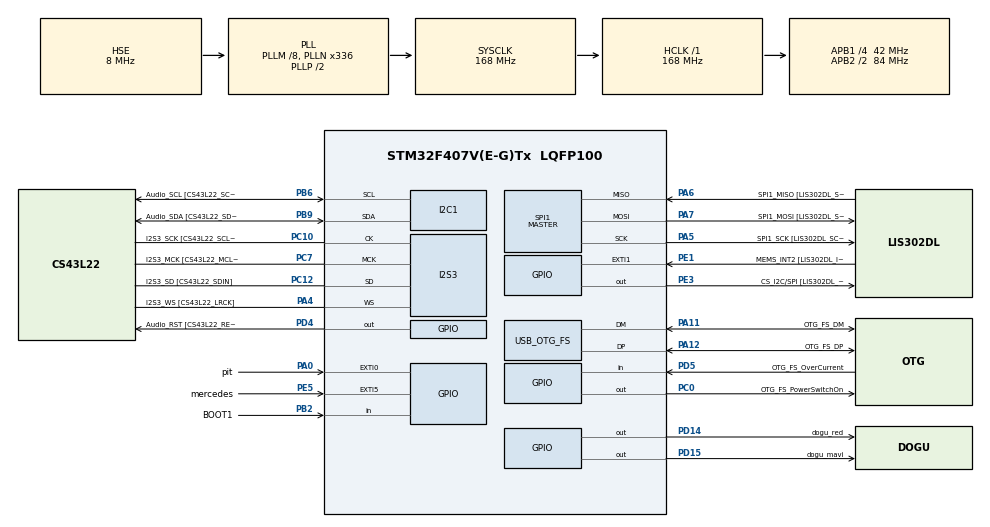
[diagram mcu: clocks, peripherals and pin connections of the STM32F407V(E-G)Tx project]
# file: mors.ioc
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I2S3.AudioFreq-Half_Duplex_Master=I2S_AUDIOFREQ_96K
I2S3.ErrorAudioFreq=-2.34 %
I2S3.ErrorAudioFreq-Half_Duplex_Master=0.8 %
I2S3.FullDuplexMode=I2S_FULLDUPLEXMODE_DISABLE
I2S3.Instance=SPI$Index
I2S3.RealAudioFreq=93.75 KHz
I2S3.RealAudioFreq-Half_Duplex_Master=96.774 KHz
I2S3.VirtualMode=I2S_MODE_MASTER
Mcu.Family=STM32F4
Mcu.Name=STM32F407V(E-G)Tx
Mcu.Package=LQFP100
NVIC.EXTI0_IRQn=true\:0\:0\:false\:false\:true\:true\:true\:true
NVIC.EXTI9_5_IRQn=true\:0\:0\:true\:false\:true\:true\:true\:true
NVIC.OTG_FS_IRQn=true\:0\:0\:false\:false\:true\:true\:true\:true
NVIC.PriorityGroup=NVIC_PRIORITYGROUP_0
PA0-WKUP.GPIO_Label=pit
PA0-WKUP.GPIO_ModeDefaultEXTI=GPIO_MODE_IT_RISING_FALLING
PA0-WKUP.Signal=GPXTI0
PA10.GPIO_Label=OTG_FS_ID
PA10.GPIO_Mode=GPIO_MODE_AF_PP
PA10.GPIO_PuPd=GPIO_NOPULL
PA10.GPIO_Speed=GPIO_SPEED_FREQ_LOW
PA10.Signal=USB_OTG_FS_ID
PA11.GPIO_Label=OTG_FS_DM
PA11.GPIO_Mode=GPIO_MODE_AF_PP
PA11.GPIO_PuPd=GPIO_NOPULL
PA11.GPIO_Speed=GPIO_SPEED_FREQ_LOW
PA11.Mode=Device_Only
PA11.Signal=USB_OTG_FS_DM
PA12.GPIO_Label=OTG_FS_DP
PA12.GPIO_Mode=GPIO_MODE_AF_PP
PA12.GPIO_PuPd=GPIO_NOPULL
PA12.GPIO_Speed=GPIO_SPEED_FREQ_LOW
PA12.Mode=Device_Only
PA12.Signal=USB_OTG_FS_DP
PA13.GPIO_Label=SWDIO
PA13.Mode=Serial_Wire
PA13.Signal=SYS_JTMS-SWDIO
PA14.GPIO_Label=SWCLK
PA14.Mode=Serial_Wire
PA14.Signal=SYS_JTCK-SWCLK
PA4.GPIO_Label=I2S3_WS [CS43L22_LRCK]
PA4.GPIO_Mode=GPIO_MODE_AF_PP
PA4.GPIO_PuPd=GPIO_NOPULL
PA4.GPIO_Speed=GPIO_SPEED_FREQ_LOW
PA4.Mode=Half_Duplex_Master
PA4.Signal=I2S3_WS
PA5.GPIO_Label=SPI1_SCK [LIS302DL_SCL/SPC]
PA5.GPIO_Mode=GPIO_MODE_AF_PP
PA5.GPIO_PuPd=GPIO_NOPULL
PA5.GPIO_Speed=GPIO_SPEED_FREQ_LOW
PA5.Mode=Full_Duplex_Master
PA5.Signal=SPI1_SCK
PA6.GPIO_Label=SPI1_MISO [LIS302DL_SDO]
PA6.GPIO_Mode=GPIO_MODE_AF_PP
PA6.GPIO_PuPd=GPIO_NOPULL
PA6.GPIO_Speed=GPIO_SPEED_FREQ_LOW
PA6.Mode=Full_Duplex_Master
PA6.Signal=SPI1_MISO
PA7.GPIO_Label=SPI1_MOSI [LIS302DL_SDA/SDI/SDO]
PA7.GPIO_Mode=GPIO_MODE_AF_PP
PA7.GPIO_PuPd=GPIO_NOPULL
PA7.GPIO_Speed=GPIO_SPEED_FREQ_LOW
PA7.Mode=Full_Duplex_Master
PA7.Signal=SPI1_MOSI
PA9.GPIO_Label=VBUS_FS
PA9.GPIO_Mode=GPIO_MODE_INPUT
PA9.GPIO_PuPd=GPIO_NOPULL
PA9.Signal=USB_OTG_FS_VBUS
PB10.GPIO_Label=CLK_IN [MP45DT02_CLK]
PB10.GPIO_Mode=GPIO_MODE_AF_PP
PB10.GPIO_PuPd=GPIO_NOPULL
PB10.GPIO_Speed=GPIO_SPEED_FREQ_LOW
PB10.Signal=I2S2_CK
PB2.GPIO_Label=BOOT1
PB2.GPIO_Mode=GPIO_MODE_INPUT
PB2.GPIO_PuPd=GPIO_NOPULL
PB2.Signal=GPIO_Input
PB3.GPIO_Label=SWO
PB3.Signal=SYS_JTDO-SWO
PB6.GPIO_Label=Audio_SCL [CS43L22_SCL]
PB6.GPIO_Mode=GPIO_MODE_AF_OD
PB6.GPIO_Pu=GPIO_PULLUP
PB6.GPIO_PuPd=GPIO_NOPULL
PB6.GPIO_Speed=GPIO_SPEED_FREQ_LOW
PB6.Mode=I2C
PB6.Signal=I2C1_SCL
PB9.GPIO_Label=Audio_SDA [CS43L22_SDA]
PB9.GPIO_Mode=GPIO_MODE_AF_OD
PB9.GPIO_Pu=GPIO_PULLUP
PB9.GPIO_PuPd=GPIO_NOPULL
PB9.GPIO_Speed=GPIO_SPEED_FREQ_LOW
PB9.Mode=I2C
PB9.Signal=I2C1_SDA
PC0.GPIO_Label=OTG_FS_PowerSwitchOn
PC0.GPIO_PuPd=GPIO_NOPULL
PC0.GPIO_Speed=GPIO_SPEED_FREQ_LOW
PC0.PinState=GPIO_PIN_SET
PC0.Signal=GPIO_Output
PC10.GPIO_Label=I2S3_SCK [CS43L22_SCLK]
PC10.GPIO_Mode=GPIO_MODE_AF_PP
PC10.GPIO_PuPd=GPIO_NOPULL
PC10.GPIO_Speed=GPIO_SPEED_FREQ_LOW
PC10.Mode=Half_Duplex_Master
PC10.Signal=I2S3_CK
PC12.GPIO_Label=I2S3_SD [CS43L22_SDIN]
PC12.GPIO_Mode=GPIO_MODE_AF_PP
PC12.GPIO_PuPd=GPIO_NOPULL
PC12.GPIO_Speed=GPIO_SPEED_FREQ_LOW
PC12.Mode=Half_Duplex_Master
PC12.Signal=I2S3_SD
PC14-OSC32_IN.GPIO_Label=PC14-OSC32_IN
PC14-OSC32_IN.Mode=LSE-External-Oscillator
PC14-OSC32_IN.Signal=RCC_OSC32_IN
PC15-OSC32_OUT.GPIO_Label=PC15-OSC32_OUT
PC15-OSC32_OUT.Mode=LSE-External-Oscillator
PC15-OSC32_OUT.Signal=RCC_OSC32_OUT
PC3.GPIO_Label=PDM_OUT [MP45DT02_DOUT]
PC3.GPIO_Mode=GPIO_MODE_AF_PP
PC3.GPIO_PuPd=GPIO_NOPULL
PC3.GPIO_Speed=GPIO_SPEED_FREQ_LOW
PC3.Signal=I2S2_SD
PC7.GPIO_Label=I2S3_MCK [CS43L22_MCLK]
PC7.GPIO_Mode=GPIO_MODE_AF_PP
PC7.GPIO_PuPd=GPIO_NOPULL
PC7.GPIO_Speed=GPIO_SPEED_FREQ_LOW
PC7.Mode=Master_Clock_Activated
PC7.Signal=I2S3_MCK
PD14.GPIO_Label=dogu_red
PD14.GPIO_PuPd=GPIO_NOPULL
PD14.GPIO_Speed=GPIO_SPEED_FREQ_LOW
PD14.Signal=GPIO_Output
PD15.GPIO_Label=dogu_mavi
PD15.GPIO_PuPd=GPIO_NOPULL
PD15.GPIO_Speed=GPIO_SPEED_FREQ_LOW
PD15.Signal=GPIO_Output
PD4.GPIO_Label=Audio_RST [CS43L22_RESET]
PD4.GPIO_PuPd=GPIO_NOPULL
PD4.GPIO_Speed=GPIO_SPEED_FREQ_LOW
PD4.Signal=GPIO_Output
PD5.GPIO_Label=OTG_FS_OverCurrent
PD5.GPIO_Mode=GPIO_MODE_INPUT
PD5.GPIO_PuPd=GPIO_NOPULL
PD5.Signal=GPIO_Input
PE1.GPIO_Label=MEMS_INT2 [LIS302DL_INT2]
PE1.GPIO_ModeDefaultEXTI=GPIO_MODE_EVT_RISING
PE1.GPIO_PuPd=GPIO_NOPULL
PE1.Signal=GPXTI1
PE3.GPIO_Label=CS_I2C/SPI [LIS302DL_CS_I2C/SPI]
PE3.GPIO_PuPd=GPIO_NOPULL
PE3.GPIO_Speed=GPIO_SPEED_FREQ_LOW
PE3.Signal=GPIO_Output
PE5.GPIO_Label=mercedes
PE5.GPIO_ModeDefaultEXTI=GPIO_MODE_IT_RISING
PE5.Signal=GPXTI5
PH0-OSC_IN.GPIO_Label=PH0-OSC_IN
PH0-OSC_IN.Mode=HSE-External-Oscillator
PH0-OSC_IN.Signal=RCC_OSC_IN
PH1-OSC_OUT.GPIO_Label=PH1-OSC_OUT
PH1-OSC_OUT.Mode=HSE-External-Oscillator
PH1-OSC_OUT.Signal=RCC_OSC_OUT
ProjectManager.HeapSize=0x200
ProjectManager.StackSize=0x400
ProjectManager.TargetToolchain=STM32CubeIDE
RCC.48MHZClocksFreq_Value=48000000
RCC.AHBFreq_Value=168000000
RCC.APB1CLKDivider=RCC_HCLK_DIV4
RCC.APB1Freq_Value=42000000
RCC.APB1TimFreq_Value=84000000
RCC.APB2CLKDivider=RCC_HCLK_DIV2
RCC.APB2Freq_Value=84000000
RCC.APB2TimFreq_Value=168000000
RCC.CortexFreq_Value=168000000
RCC.HCLKFreq_Value=168000000
RCC.HSE_VALUE=8000000
RCC.HSI_VALUE=16000000
RCC.PLLM=8
RCC.PLLN=336
RCC.PLLQ=7
RCC.SYSCLKFreq_VALUE=168000000
RCC.SYSCLKSource=RCC_SYSCLKSOURCE_PLLCLK
RCC.VCOOutputFreq_Value=336000000
SPI1.BaudRatePrescaler-Full_Duplex_Master=SPI_BAUDRATEPRESCALER_2
SPI1.CalculateBaudRate-Full_Duplex_Master=42.0 MBits/s
SPI1.Direction=SPI_DIRECTION_2LINES
SPI1.Mode=SPI_MODE_MASTER
SPI1.Mode-Full_Duplex_Master=SPI_MODE_MASTER
SPI1.VirtualType=VM_MASTER
TIM6.Prescaler=65535
USB_DEVICE.CLASS_NAME_FS=CDC
USB_DEVICE.VirtualMode-CDC_FS=Cdc
USB_DEVICE.VirtualModeFS=Cdc_FS
USB_OTG_FS.VirtualMode=Device_Only
VP_TIM6_VS_ClockSourceINT.Mode=Enable_Timer
VP_USB_DEVICE_VS_USB_DEVICE_CDC_FS.Mode=CDC_FS
board=STM32F407G-DISC1

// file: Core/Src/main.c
/* USER CODE BEGIN Header */
/**
  ******************************************************************************
  * @file           : main.c
  * @brief          : Main program body
  ******************************************************************************
  * @attention
  *
  * Copyright (c) 2022 STMicroelectronics.
  * All rights reserved.
  *
  * This software is licensed under terms that can be found in the LICENSE file
  * in the root directory of this software component.
  * If no LICENSE file comes with this software, it is provided AS-IS.
  *
  ******************************************************************************
  */
/* USER CODE END Header */
#include "main.h"
#include "usb_device.h"

/* USER CODE BEGIN PD */
#define nokta 3
#define uzun_cizgi 5
/* USER CODE END PD */

I2C_HandleTypeDef hi2c1;

I2S_HandleTypeDef hi2s3;

SPI_HandleTypeDef hspi1;

TIM_HandleTypeDef htim6;

/* USER CODE BEGIN PV */
uint32_t leclerc;
int bottas[4]={0,0,0,0};
int gaz;
int hamilton[11][4]={{5,3,3,0},{5,5,5,0},{5,5,3,0},{3,3,5,0},{5,3,5,0},{3,5,0,0},{5,3,0,0},{5,3,5,0},{3,3,3,0},{3,0,0,0},{3,5,3,3}};
char *toto[11]={"D","O","G","U","K","A","N","K","S","E","L"};
int x, y;
int mercedes;
/* USER CODE END PV */

void SystemClock_Config(void);
static void MX_GPIO_Init(void);
static void MX_I2C1_Init(void);
static void MX_I2S3_Init(void);
static void MX_SPI1_Init(void);
static void MX_TIM6_Init(void);

int main(void)
{

  /* MCU Configuration--------------------------------------------------------*/

  /* Reset of all peripherals, Initializes the Flash interface and the Systick. */
  HAL_Init();

  /* USER CODE BEGIN Init */
  gaz=0;
  /* USER CODE END Init */

  /* Configure the system clock */
  SystemClock_Config();

  /* Initialize all configured peripherals */
  MX_GPIO_Init();
  MX_I2C1_Init();
  MX_I2S3_Init();
  MX_SPI1_Init();
  MX_USB_DEVICE_Init();
  MX_TIM6_Init();
  /* USER CODE BEGIN 2 */
HAL_TIM_Base_Start(&htim6);
  /* USER CODE END 2 */

  /* Infinite loop */
  while (1)
  {

  }
}

void SystemClock_Config(void)
{
  RCC_OscInitTypeDef RCC_OscInitStruct = {0};
  RCC_ClkInitTypeDef RCC_ClkInitStruct = {0};

  /** Configure the main internal regulator output voltage
  */
  __HAL_RCC_PWR_CLK_ENABLE();
  __HAL_PWR_VOLTAGESCALING_CONFIG(PWR_REGULATOR_VOLTAGE_SCALE1);

  /** Initializes the RCC Oscillators according to the specified parameters
  * in the RCC_OscInitTypeDef structure.
  */
  RCC_OscInitStruct.OscillatorType = RCC_OSCILLATORTYPE_HSE;
  RCC_OscInitStruct.HSEState = RCC_HSE_ON;
  RCC_OscInitStruct.PLL.PLLState = RCC_PLL_ON;
  RCC_OscInitStruct.PLL.PLLSource = RCC_PLLSOURCE_HSE;
  RCC_OscInitStruct.PLL.PLLM = 8;
  RCC_OscInitStruct.PLL.PLLN = 336;
  RCC_OscInitStruct.PLL.PLLP = RCC_PLLP_DIV2;
  RCC_OscInitStruct.PLL.PLLQ = 7;
  if (HAL_RCC_OscConfig(&RCC_OscInitStruct) != HAL_OK)
  {
    Error_Handler();
  }

  /** Initializes the CPU, AHB and APB buses clocks
  */
  RCC_ClkInitStruct.ClockType = RCC_CLOCKTYPE_HCLK|RCC_CLOCKTYPE_SYSCLK
                              |RCC_CLOCKTYPE_PCLK1|RCC_CLOCKTYPE_PCLK2;
  RCC_ClkInitStruct.SYSCLKSource = RCC_SYSCLKSOURCE_PLLCLK;
  RCC_ClkInitStruct.AHBCLKDivider = RCC_SYSCLK_DIV1;
  RCC_ClkInitStruct.APB1CLKDivider = RCC_HCLK_DIV4;
  RCC_ClkInitStruct.APB2CLKDivider = RCC_HCLK_DIV2;

  if (HAL_RCC_ClockConfig(&RCC_ClkInitStruct, FLASH_LATENCY_5) != HAL_OK)
  {
    Error_Handler();
  }
}

static void MX_I2C1_Init(void)
{

  hi2c1.Instance = I2C1;
  hi2c1.Init.ClockSpeed = 100000;
  hi2c1.Init.DutyCycle = I2C_DUTYCYCLE_2;
  hi2c1.Init.OwnAddress1 = 0;
  hi2c1.Init.AddressingMode = I2C_ADDRESSINGMODE_7BIT;
  hi2c1.Init.DualAddressMode = I2C_DUALADDRESS_DISABLE;
  hi2c1.Init.OwnAddress2 = 0;
  hi2c1.Init.GeneralCallMode = I2C_GENERALCALL_DISABLE;
  hi2c1.Init.NoStretchMode = I2C_NOSTRETCH_DISABLE;
  if (HAL_I2C_Init(&hi2c1) != HAL_OK)
  {
    Error_Handler();
  }

}

static void MX_I2S3_Init(void)
{

  hi2s3.Instance = SPI3;
  hi2s3.Init.Mode = I2S_MODE_MASTER_TX;
  hi2s3.Init.Standard = I2S_STANDARD_PHILIPS;
  hi2s3.Init.DataFormat = I2S_DATAFORMAT_16B;
  hi2s3.Init.MCLKOutput = I2S_MCLKOUTPUT_ENABLE;
  hi2s3.Init.AudioFreq = I2S_AUDIOFREQ_96K;
  hi2s3.Init.CPOL = I2S_CPOL_LOW;
  hi2s3.Init.ClockSource = I2S_CLOCK_PLL;
  hi2s3.Init.FullDuplexMode = I2S_FULLDUPLEXMODE_DISABLE;
  if (HAL_I2S_Init(&hi2s3) != HAL_OK)
  {
    Error_Handler();
  }

}

static void MX_SPI1_Init(void)
{

  /* SPI1 parameter configuration*/
  hspi1.Instance = SPI1;
  hspi1.Init.Mode = SPI_MODE_MASTER;
  hspi1.Init.Direction = SPI_DIRECTION_2LINES;
  hspi1.Init.DataSize = SPI_DATASIZE_8BIT;
  hspi1.Init.CLKPolarity = SPI_POLARITY_LOW;
  hspi1.Init.CLKPhase = SPI_PHASE_1EDGE;
  hspi1.Init.NSS = SPI_NSS_SOFT;
  hspi1.Init.BaudRatePrescaler = SPI_BAUDRATEPRESCALER_2;
  hspi1.Init.FirstBit = SPI_FIRSTBIT_MSB;
  hspi1.Init.TIMode = SPI_TIMODE_DISABLE;
  hspi1.Init.CRCCalculation = SPI_CRCCALCULATION_DISABLE;
  hspi1.Init.CRCPolynomial = 10;
  if (HAL_SPI_Init(&hspi1) != HAL_OK)
  {
    Error_Handler();
  }

}

static void MX_TIM6_Init(void)
{

  TIM_MasterConfigTypeDef sMasterConfig = {0};

  htim6.Instance = TIM6;
  htim6.Init.Prescaler = 65535;
  htim6.Init.CounterMode = TIM_COUNTERMODE_UP;
  htim6.Init.Period = 65535;
  htim6.Init.AutoReloadPreload = TIM_AUTORELOAD_PRELOAD_DISABLE;
  if (HAL_TIM_Base_Init(&htim6) != HAL_OK)
  {
    Error_Handler();
  }
  sMasterConfig.MasterOutputTrigger = TIM_TRGO_RESET;
  sMasterConfig.MasterSlaveMode = TIM_MASTERSLAVEMODE_DISABLE;
  if (HAL_TIMEx_MasterConfigSynchronization(&htim6, &sMasterConfig) != HAL_OK)
  {
    Error_Handler();
  }

}

static void MX_GPIO_Init(void)
{
  GPIO_InitTypeDef GPIO_InitStruct = {0};

  /* GPIO Ports Clock Enable */
  __HAL_RCC_GPIOE_CLK_ENABLE();
  __HAL_RCC_GPIOC_CLK_ENABLE();
  __HAL_RCC_GPIOH_CLK_ENABLE();
  __HAL_RCC_GPIOA_CLK_ENABLE();
  __HAL_RCC_GPIOB_CLK_ENABLE();
  __HAL_RCC_GPIOD_CLK_ENABLE();

  /*Configure GPIO pin Output Level */
  HAL_GPIO_WritePin(CS_I2C_SPI_GPIO_Port, CS_I2C_SPI_Pin, GPIO_PIN_RESET);

  /*Configure GPIO pin Output Level */
  HAL_GPIO_WritePin(OTG_FS_PowerSwitchOn_GPIO_Port, OTG_FS_PowerSwitchOn_Pin, GPIO_PIN_SET);

  /*Configure GPIO pin Output Level */
  HAL_GPIO_WritePin(GPIOD, dogu_red_Pin|dogu_mavi_Pin|Audio_RST_Pin, GPIO_PIN_RESET);

  /*Configure GPIO pin : CS_I2C_SPI_Pin */
  GPIO_InitStruct.Pin = CS_I2C_SPI_Pin;
  GPIO_InitStruct.Mode = GPIO_MODE_OUTPUT_PP;
  GPIO_InitStruct.Pull = GPIO_NOPULL;
  GPIO_InitStruct.Speed = GPIO_SPEED_FREQ_LOW;
  HAL_GPIO_Init(CS_I2C_SPI_GPIO_Port, &GPIO_InitStruct);

  /*Configure GPIO pin : mercedes_Pin */
  GPIO_InitStruct.Pin = mercedes_Pin;
  GPIO_InitStruct.Mode = GPIO_MODE_IT_RISING;
  GPIO_InitStruct.Pull = GPIO_NOPULL;
  HAL_GPIO_Init(mercedes_GPIO_Port, &GPIO_InitStruct);

  /*Configure GPIO pin : OTG_FS_PowerSwitchOn_Pin */
  GPIO_InitStruct.Pin = OTG_FS_PowerSwitchOn_Pin;
  GPIO_InitStruct.Mode = GPIO_MODE_OUTPUT_PP;
  GPIO_InitStruct.Pull = GPIO_NOPULL;
  GPIO_InitStruct.Speed = GPIO_SPEED_FREQ_LOW;
  HAL_GPIO_Init(OTG_FS_PowerSwitchOn_GPIO_Port, &GPIO_InitStruct);

  /*Configure GPIO pin : PDM_OUT_Pin */
  GPIO_InitStruct.Pin = PDM_OUT_Pin;
  GPIO_InitStruct.Mode = GPIO_MODE_AF_PP;
  GPIO_InitStruct.Pull = GPIO_NOPULL;
  GPIO_InitStruct.Speed = GPIO_SPEED_FREQ_LOW;
  GPIO_InitStruct.Alternate = GPIO_AF5_SPI2;
  HAL_GPIO_Init(PDM_OUT_GPIO_Port, &GPIO_InitStruct);

  /*Configure GPIO pin : pit_Pin */
  GPIO_InitStruct.Pin = pit_Pin;
  GPIO_InitStruct.Mode = GPIO_MODE_IT_RISING_FALLING;
  GPIO_InitStruct.Pull = GPIO_NOPULL;
  HAL_GPIO_Init(pit_GPIO_Port, &GPIO_InitStruct);

  /*Configure GPIO pin : BOOT1_Pin */
  GPIO_InitStruct.Pin = BOOT1_Pin;
  GPIO_InitStruct.Mode = GPIO_MODE_INPUT;
  GPIO_InitStruct.Pull = GPIO_NOPULL;
  HAL_GPIO_Init(BOOT1_GPIO_Port, &GPIO_InitStruct);

  /*Configure GPIO pin : CLK_IN_Pin */
  GPIO_InitStruct.Pin = CLK_IN_Pin;
  GPIO_InitStruct.Mode = GPIO_MODE_AF_PP;
  GPIO_InitStruct.Pull = GPIO_NOPULL;
  GPIO_InitStruct.Speed = GPIO_SPEED_FREQ_LOW;
  GPIO_InitStruct.Alternate = GPIO_AF5_SPI2;
  HAL_GPIO_Init(CLK_IN_GPIO_Port, &GPIO_InitStruct);

  /*Configure GPIO pins : dogu_red_Pin dogu_mavi_Pin Audio_RST_Pin */
  GPIO_InitStruct.Pin = dogu_red_Pin|dogu_mavi_Pin|Audio_RST_Pin;
  GPIO_InitStruct.Mode = GPIO_MODE_OUTPUT_PP;
  GPIO_InitStruct.Pull = GPIO_NOPULL;
  GPIO_InitStruct.Speed = GPIO_SPEED_FREQ_LOW;
  HAL_GPIO_Init(GPIOD, &GPIO_InitStruct);

  /*Configure GPIO pin : OTG_FS_OverCurrent_Pin */
  GPIO_InitStruct.Pin = OTG_FS_OverCurrent_Pin;
  GPIO_InitStruct.Mode = GPIO_MODE_INPUT;
  GPIO_InitStruct.Pull = GPIO_NOPULL;
  HAL_GPIO_Init(OTG_FS_OverCurrent_GPIO_Port, &GPIO_InitStruct);

  /*Configure GPIO pin : MEMS_INT2_Pin */
  GPIO_InitStruct.Pin = MEMS_INT2_Pin;
  GPIO_InitStruct.Mode = GPIO_MODE_EVT_RISING;
  GPIO_InitStruct.Pull = GPIO_NOPULL;
  HAL_GPIO_Init(MEMS_INT2_GPIO_Port, &GPIO_InitStruct);

  /* EXTI interrupt init*/
  HAL_NVIC_SetPriority(EXTI0_IRQn, 0, 0);
  HAL_NVIC_EnableIRQ(EXTI0_IRQn);

  HAL_NVIC_SetPriority(EXTI9_5_IRQn, 0, 0);
  HAL_NVIC_EnableIRQ(EXTI9_5_IRQn);

}

/* USER CODE BEGIN 4 */
void russell(){
	x=0;
	y=0;
	while(x<9){
		if(hamilton[x][y]==bottas[y]){
			y++;
		}
		else{
			x++;
			y=0;
		}
		if(y==4){
			break;
		}
	}
	if(gaz==4 || mercedes){
		gaz=0;
		CDC_Transmit_FS((uint8_t*)toto[x], (uint16_t)strlen(toto[x]));
		for(int u=0;u<4;u++)
			bottas[u]=0;
		}
}
void damalı_bayrak(uint32_t pit){
	if(pit<300 && pit>50){
		HAL_GPIO_WritePin(GPIOD,dogu_red_Pin,0);
		HAL_GPIO_WritePin(GPIOD,dogu_mavi_Pin,1);
		bottas[gaz]=nokta;
		gaz++;
	}
	else if(pit>299){
		HAL_GPIO_WritePin(GPIOD,dogu_mavi_Pin,0);
		HAL_GPIO_WritePin(GPIOD,dogu_red_Pin,1);
		bottas[gaz]=uzun_cizgi;
		gaz++;
	}
	if(gaz==4 || mercedes)
		russell();
}
void HAL_GPIO_EXTI_Callback(uint16_t GPIO_Pin)
{
	if(GPIO_Pin==pit_Pin){
		mercedes=0;
		if (HAL_GPIO_ReadPin(GPIOA,pit_Pin)){
			TIM6->CNT=0;
			HAL_GPIO_WritePin(GPIOD,dogu_mavi_Pin,0);
			HAL_GPIO_WritePin(GPIOD,dogu_red_Pin,0);
		}
		else
		{
			leclerc=TIM6->CNT;
			damalı_bayrak(leclerc);

		}
	}
	if(GPIO_Pin==mercedes_Pin){

		if(HAL_GPIO_ReadPin(GPIOE, mercedes_Pin))
		{    	mercedes=1;
		    russell();
	}
	}

 }
  void HAL_TIM_PeriodElapsedCallback(TIM_HandleTypeDef *htim)
  {
  	if(htim==&htim6){
  	}

  }

/* USER CODE END 4 */

void Error_Handler(void)
{
  __disable_irq();
  while (1)
  {
  }
}
